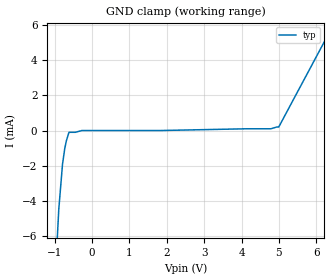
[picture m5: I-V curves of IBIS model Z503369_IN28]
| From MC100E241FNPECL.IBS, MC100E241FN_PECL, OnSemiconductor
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| (C) COPYRIGHT 1993-2000
| MENTOR GRAPHICS CORPORATION
| ICX STANDARD LIBRARY, ICX PROJECT MODELING,
| ICX CUSTOM MODELING, ICX VENDOR MODEL
| ALL RIGHTS RESERVED.
| THE FOLLOWING ARE TRADEMARKS OR SERVICE MARKS OF
| MENTOR GRAPHICS CORPORATION:ICX (R), ICX STANDARD
| LIBRARY(R), ICX PROJECT MODELING(R), ICX CUSTOM
| MODELING(R), qualityIBIS(TM), MODELVIEWER(TM),
| AND MODELEDITOR(TM)
| ALL COPIES OF SOFTWARE, INCLUDING BUT NOT LIMITED TO
| ANY MODIFICATIONS, ENHANCEMENTS OR DERIVATIVE WORKS,
| MUST CONTAIN ALL MENTOR GRAPHICS CORPORATION'S
| NOTICES AND LEGENDS, INCLUDING THOSE EMBEDDED IN
| SOFTWARE AND THOSE AFFIXED TO SOFTWARE MEDIUM
| AND CONTAINER, AS RECEIVED FROM MENTOR GRAPHICS
| CORPORATION.
| Model Application Version 1.89 2/18/99.
[Model] Z503369_IN28
Model_type Input_ECL
Vinl = 3.525V
Vinh = 3.835V
C_comp 4.000pF NA NA
| variable typ   min   max
[Voltage Range] 5.000V NA NA
[GND Clamp Reference] 0.000V NA NA
[POWER Clamp Reference] 5.000V NA NA
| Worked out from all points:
|   GND clamp passes 1 mA (typ) near -0.73 V on its own axis
[GND Clamp]
-5V       -254.4mA   NA         NA
-1.033V   -10.3mA    NA         NA
-891mV    -4.5mA     NA         NA
-790mV    -1.9mA     NA         NA
-729mV    -1mA       NA         NA
-689mV    -600uA     NA         NA
-617.8mV  -100uA     NA         NA
-445.5mV  -100uA     NA         NA
-273.2mV  0A         NA         NA
4.787V    100uA      NA         NA
4.996V    200uA      NA         NA
10V       20.02mA    NA         NA
[POWER Clamp]
-5V       0A         NA         NA
10V       0A         NA         NA
